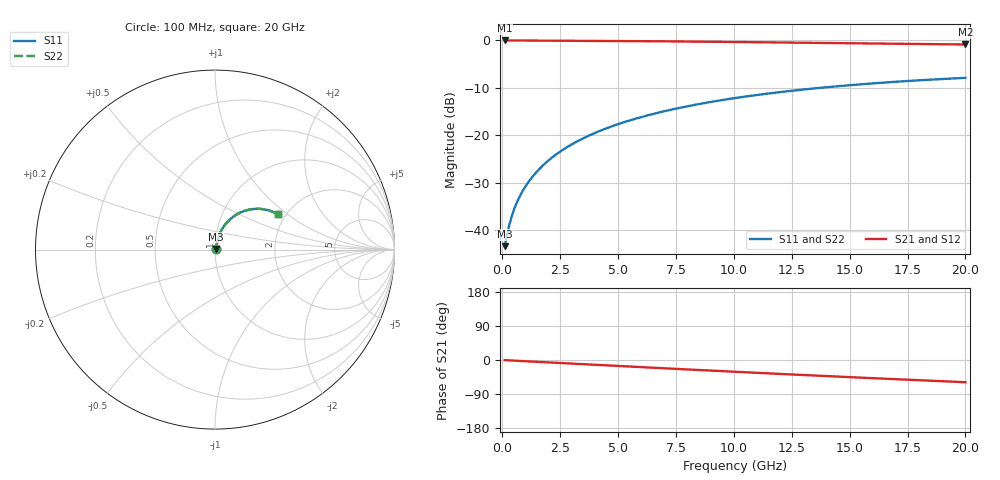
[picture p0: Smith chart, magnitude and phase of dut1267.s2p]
! Touchstone file exported from HFSS 2026.1.0
!  File:  C:/ffzhzh/LocalFiles/Ansys_Project_Files/temp_train_TMRDL_1267_1783164094_18472.aedt
!  Generated:  07:23:07 PM Jul  4, 2026
!  Design:  TMRDL
!  Project:  temp_train_TMRDL_1267_1783164094_18472
! Variables:
!  h_bsmrdl = 2um
!  h_ox = 20um
!  h_rdl = 5um
!  h_sub = 80um
!  h_tmrdl = 2.26um
!  h_tsv = 80um
!  h_via = 3um
!  l_bsmrdl = 300um
!  l_sub = 1347.23um
!  l_tmrdl = 947.23um
!  m_sub = 200um
!  pitch = 44.37um
!  r_tsv = 6um
!  s_tmrdl = 10um
!  w_bsmrdl = 18um
!  w_sub = 500um
!  w_tmrdl = 26um
!  x_tsv_center1 = 960.23um
!  x_tsv_center2 = 1278.23um
!  x_tsv_center3 = 2251.46um
!  x_tsv_center4 = 2569.46um
!  x_tsv_center5 = 3542.69um
!  x_tsv_center6 = 3860.69um
# GHz S MA R 50.000000
! Terminal data exported
! Port[1] = TM_RDL1_1_T1
! Port[2] = TM_RDL1_1_T2
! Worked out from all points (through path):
!   200 points, 100 MHz to 20 GHz, reference 50 ohm
!   highest |S21| = -0.05 dB at 100 MHz (marker M1); lowest = -0.9 dB at 20 GHz (marker M2)
!   group delay of S21, straight-line fit = 8.15 ps
!   lowest |S11| = -43.4 dB at 100 MHz (marker M3), VSWR 1.01, Z = 50.6 + j0.315 ohm
!   |S11| at or under -10 dB: start of sweep to 13.8 GHz
!   |S22| runs from -43.4 to -7.9 dB; largest |S21 - S12| = 1.2e-14
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0.1  0.006764 27.4  0.994 -0.3  0.994 -0.3  0.006764 27.4
! Gamma 0 0 0 0
! Port Impedance 50 0 50 0
0.3  0.01123 53.4  0.9934 -1.0  0.9934 -1.0  0.01123 53.4
0.4  0.01377 58.8  0.9931 -1.3  0.9931 -1.3  0.01377 58.8
0.5  0.0163 62.3  0.9927 -1.7  0.9927 -1.7  0.0163 62.3
0.6  0.01881 64.8  0.9925 -2.0  0.9925 -2.0  0.01881 64.8
0.8  0.02381 68.3  0.992 -2.6  0.992 -2.6  0.02381 68.3
1  0.02882 70.6  0.9916 -3.2  0.9916 -3.2  0.02882 70.6
1.2  0.03386 72.1  0.9913 -3.9  0.9913 -3.9  0.03386 72.1
1.4  0.03893 73.1  0.991 -4.5  0.991 -4.5  0.03893 73.1
1.7  0.04659 74.1  0.9905 -5.4  0.9905 -5.4  0.04659 74.1
2.2  0.05942 74.6  0.9896 -7.0  0.9896 -7.0  0.05942 74.6
2.8  0.07484 74.3  0.9884 -8.9  0.9884 -8.9  0.07484 74.3
3.5  0.09275 73.3  0.9867 -11.1  0.9867 -11.1  0.09275 73.3
4.2  0.1105 71.9  0.9846 -13.3  0.9846 -13.3  0.1105 71.9
5  0.1304 70.0  0.9819 -15.8  0.9819 -15.8  0.1305 70.0
5.9  0.1525 67.7  0.9784 -18.6  0.9784 -18.6  0.1525 67.7
6.8  0.1739 65.3  0.9745 -21.3  0.9745 -21.3  0.1739 65.3
8.3  0.2082 61.2  0.9672 -25.9  0.9672 -25.9  0.2082 61.1
10.1  0.2468 56.1  0.9574 -31.2  0.9574 -31.2  0.2468 56.1
13.4  0.3093 46.9  0.9381 -40.8  0.9381 -40.8  0.3094 46.9
16.7  0.3608 38.1  0.9188 -49.9  0.9188 -49.9  0.3608 38.0
20  0.4012 29.5  0.9015 -58.6  0.9015 -58.6  0.4013 29.4
